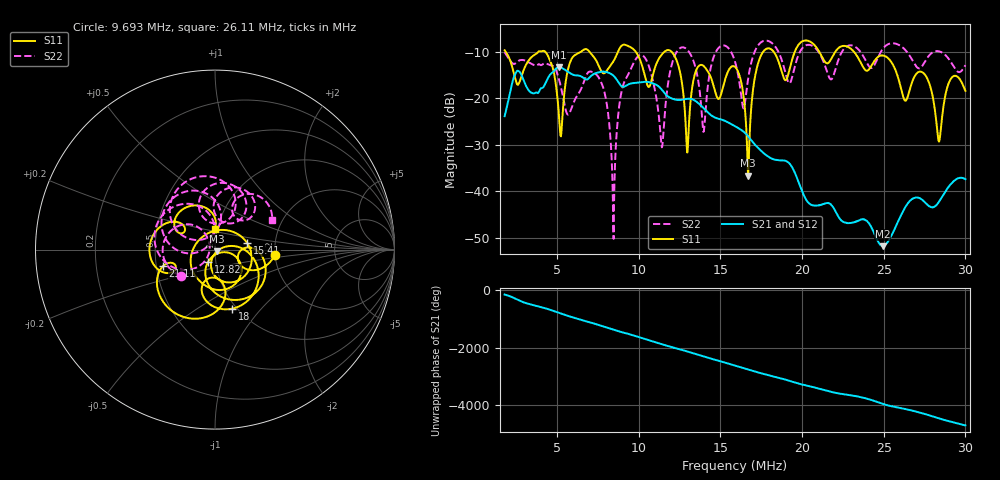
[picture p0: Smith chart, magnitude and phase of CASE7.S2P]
!Agilent Technologies,E5061B,MY49101568,A.02.00
!Date: Wed Mar 01 14:59:04 2023
!Data & Calibration Information:
!Freq	S11:SOLT2(OFF)	S21:SOLT2(OFF)	S12:SOLT2(OFF)	S22:SOLT2(OFF)
# Hz S dB R 50
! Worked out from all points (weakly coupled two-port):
!   1155 points, 1.8 MHz to 30 MHz, reference 50 ohm
!   highest |S21| = -13.31 dB at 5.123 MHz (marker M1); lowest = -51.8 dB at 24.94 MHz (marker M2)
!   lowest |S11| = -36.6 dB at 16.71 MHz (marker M3), VSWR 1.03, Z = 51.1 - j1.05 ohm
!   |S11| at or under -10 dB: 4.285 MHz to 6.474 MHz (2.19 MHz wide, 40.7 % of centre); 12.02 MHz to 17.62 MHz (5.609 MHz wide, 37.8 % of centre); 23.18 MHz to end of sweep (the widest 3 of 8)
!   |S22| runs from -50.2 to -7.6 dB; largest |S21 - S12| = 0.0029
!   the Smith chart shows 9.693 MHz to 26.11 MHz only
!   S11 on the Smith chart (normalised r, x): 9.693 MHz: 2.00, -0.12; 12.82 MHz: 0.92, -0.12; 15.41 MHz: 1.43, +0.11; 18 MHz: 0.96, -0.71; 21.11 MHz: 0.54, -0.11; 26.11 MHz: 0.97, +0.23
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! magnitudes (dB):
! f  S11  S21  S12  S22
! 1.8 MHz  -9.7  -23.8  -23.8  -10.1
! 4.317 MHz  -10.1  -16.7  -16.7  -12.5
! 5.123 MHz  -23.5  -13.3  -13.3  -15.9
! 6.516 MHz  -9.9  -15.4  -15.3  -17.7
! 7.811 MHz  -14.6  -14.3  -14.2  -17.5
! 8.471 MHz  -12.0  -15.2  -15.1  -50.2
! 8.887 MHz  -9.0  -17.2  -17.1  -19.9
! 9.693 MHz  -9.5  -16.7  -16.7  -12.4
! 11.21 MHz  -11.7  -17.4  -17.4  -22.9
! 12.82 MHz  -22.3  -20.2  -20.3  -9.2
! 13.97 MHz  -13.0  -22.1  -22.1  -27.2
! 15.41 MHz  -14.8  -25.1  -25.1  -8.9
! 15.9 MHz  -13.3  -26.0  -26.1  -12.1
! 16.71 MHz  -36.6  -28.2  -28.2  -15.7
! 18 MHz  -9.3  -32.7  -32.8  -7.8
! 20.62 MHz  -8.1  -43.0  -42.9  -8.7
! 21.11 MHz  -10.3  -42.9  -42.8  -10.6
! 24.94 MHz  -10.8  -51.8  -51.7  -9.4
! 25.31 MHz  -11.5  -50.5  -50.5  -8.3
! 26.11 MHz  -18.6  -44.7  -44.7  -9.0
! 28.39 MHz  -29.3  -42.2  -42.2  -9.9
! 30 MHz  -18.4  -37.4  -37.3  -12.9
